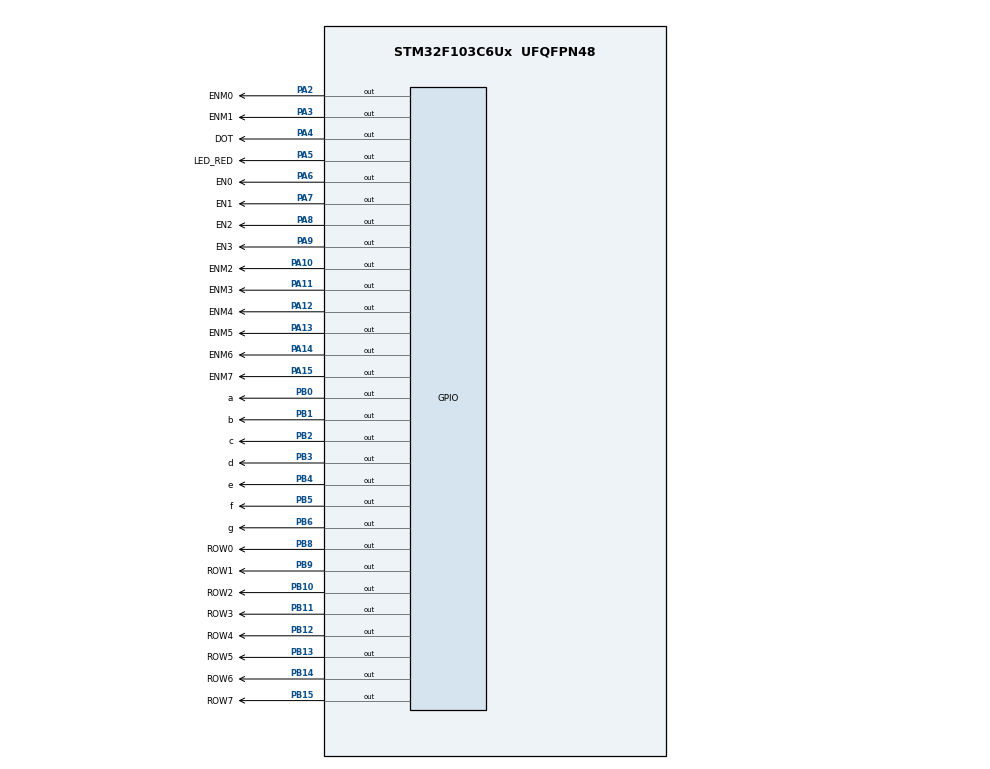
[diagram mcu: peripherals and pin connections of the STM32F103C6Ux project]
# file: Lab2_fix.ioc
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Mcu.Family=STM32F1
Mcu.Name=STM32F103C6Ux
Mcu.Package=UFQFPN48
NVIC.PriorityGroup=NVIC_PRIORITYGROUP_4
NVIC.TIM2_IRQn=true\:0\:0\:false\:false\:true\:true\:true
PA10.GPIO_Label=ENM2
PA10.Signal=GPIO_Output
PA11.GPIO_Label=ENM3
PA11.Signal=GPIO_Output
PA12.GPIO_Label=ENM4
PA12.Signal=GPIO_Output
PA13.GPIO_Label=ENM5
PA13.Signal=GPIO_Output
PA14.GPIO_Label=ENM6
PA14.Signal=GPIO_Output
PA15.GPIO_Label=ENM7
PA15.Signal=GPIO_Output
PA2.GPIO_Label=ENM0
PA2.Signal=GPIO_Output
PA3.GPIO_Label=ENM1
PA3.Signal=GPIO_Output
PA4.GPIO_Label=DOT
PA4.Signal=GPIO_Output
PA5.GPIO_Label=LED_RED
PA5.Signal=GPIO_Output
PA6.GPIO_Label=EN0
PA6.Signal=GPIO_Output
PA7.GPIO_Label=EN1
PA7.Signal=GPIO_Output
PA8.GPIO_Label=EN2
PA8.Signal=GPIO_Output
PA9.GPIO_Label=EN3
PA9.Signal=GPIO_Output
PB0.GPIO_Label=a
PB0.Signal=GPIO_Output
PB1.GPIO_Label=b
PB1.Signal=GPIO_Output
PB10.GPIO_Label=ROW2
PB10.Signal=GPIO_Output
PB11.GPIO_Label=ROW3
PB11.Signal=GPIO_Output
PB12.GPIO_Label=ROW4
PB12.Signal=GPIO_Output
PB13.GPIO_Label=ROW5
PB13.Signal=GPIO_Output
PB14.GPIO_Label=ROW6
PB14.Signal=GPIO_Output
PB15.GPIO_Label=ROW7
PB15.Signal=GPIO_Output
PB2.GPIO_Label=c
PB2.Signal=GPIO_Output
PB3.GPIO_Label=d
PB3.Signal=GPIO_Output
PB4.GPIO_Label=e
PB4.Signal=GPIO_Output
PB5.GPIO_Label=f
PB5.Signal=GPIO_Output
PB6.GPIO_Label=g
PB6.Signal=GPIO_Output
PB8.GPIO_Label=ROW0
PB8.Signal=GPIO_Output
PB9.GPIO_Label=ROW1
PB9.Signal=GPIO_Output
ProjectManager.HeapSize=0x200
ProjectManager.StackSize=0x400
ProjectManager.TargetToolchain=STM32CubeIDE
RCC.APB1Freq_Value=8000000
RCC.APB2Freq_Value=8000000
TIM2.Period=9
TIM2.Prescaler=7999
VP_SYS_VS_ND.Mode=No_Debug
VP_TIM2_VS_ClockSourceINT.Mode=Internal
board=custom

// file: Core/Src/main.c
/* USER CODE BEGIN Header */
/**
  ******************************************************************************
  * @file           : main.c
  * @brief          : Main program body
  ******************************************************************************
  * @attention
  *
  * <h2><center>&copy; Copyright (c) 2024 STMicroelectronics.
  * All rights reserved.</center></h2>
  *
  * This software component is licensed by ST under BSD 3-Clause license,
  * the "License"; You may not use this file except in compliance with the
  * License. You may obtain a copy of the License at:
  *                        opensource.org/licenses/BSD-3-Clause
  *
  ******************************************************************************
  */
/* USER CODE END Header */
#include "main.h"

TIM_HandleTypeDef htim2;

void SystemClock_Config(void);
static void MX_GPIO_Init(void);
static void MX_TIM2_Init(void);

/* USER CODE BEGIN 0 */
int TIMER_CYCLE = 10;
//7 segment display timer setup begins:
int timer0_counter = 0;
int timer0_flag = 0;
void setTimer0(int duration){
	timer0_counter = duration /TIMER_CYCLE;
	timer0_flag = 0;
}
void timer0_run(){
	if(timer0_counter > 0){
		timer0_counter--;
		if(timer0_counter == 0) timer0_flag = 1;
	}
}
//7 segment display timer setup ends

//Hour:minute display timer setup begins:
int timer1_counter = 0;
int timer1_flag = 0;
void setTimer1(int duration){
	timer1_counter = duration /TIMER_CYCLE;
	timer1_flag = 0;
}
void timer1_run(){
	if(timer1_counter > 0){
		timer1_counter--;
		if(timer1_counter == 0) timer1_flag = 1;
	}
}
//Hour:minute display timer setup end

int led_buffer [4];
void updateClockBuffer(int hour, int minute)
{
	if (hour<=9)
	{
		led_buffer [0]=0;
		led_buffer [1]=hour;
	}
	else
	{
		led_buffer [0]=hour/10;
		led_buffer [1]=hour%10;
	}

	if (minute<=9)
	{
		led_buffer [2]=0;
		led_buffer [3]=minute;
	}
	else
	{
		led_buffer [2]=minute/10;
		led_buffer [3]=minute%10;
	}
}

void display7SEG(int num)
	{
		switch (num)
	      {
			case 1:
		          HAL_GPIO_WritePin(a_GPIO_Port, a_Pin, GPIO_PIN_SET);
		          HAL_GPIO_WritePin(b_GPIO_Port, b_Pin, GPIO_PIN_RESET);
		          HAL_GPIO_WritePin(c_GPIO_Port, c_Pin, GPIO_PIN_RESET);
		          HAL_GPIO_WritePin(d_GPIO_Port, d_Pin, GPIO_PIN_SET);
		          HAL_GPIO_WritePin(e_GPIO_Port, e_Pin, GPIO_PIN_SET);
		          HAL_GPIO_WritePin(f_GPIO_Port, f_Pin, GPIO_PIN_SET);
		          HAL_GPIO_WritePin(g_GPIO_Port, g_Pin, GPIO_PIN_SET);
				break;
			case 2:
		          HAL_GPIO_WritePin(a_GPIO_Port, a_Pin, GPIO_PIN_RESET);
		          HAL_GPIO_WritePin(b_GPIO_Port, b_Pin, GPIO_PIN_RESET);
		          HAL_GPIO_WritePin(c_GPIO_Port, c_Pin, GPIO_PIN_SET);
		          HAL_GPIO_WritePin(d_GPIO_Port, d_Pin, GPIO_PIN_RESET);
		          HAL_GPIO_WritePin(e_GPIO_Port, e_Pin, GPIO_PIN_RESET);
		          HAL_GPIO_WritePin(f_GPIO_Port, f_Pin, GPIO_PIN_SET);
		          HAL_GPIO_WritePin(g_GPIO_Port, g_Pin, GPIO_PIN_RESET);
				break;
			case 3:
		          HAL_GPIO_WritePin(a_GPIO_Port, a_Pin, GPIO_PIN_RESET);
		          HAL_GPIO_WritePin(b_GPIO_Port, b_Pin, GPIO_PIN_RESET);
		          HAL_GPIO_WritePin(c_GPIO_Port, c_Pin, GPIO_PIN_RESET);
		          HAL_GPIO_WritePin(d_GPIO_Port, d_Pin, GPIO_PIN_RESET);
		          HAL_GPIO_WritePin(e_GPIO_Port, e_Pin, GPIO_PIN_SET);
		          HAL_GPIO_WritePin(f_GPIO_Port, f_Pin, GPIO_PIN_SET);
		          HAL_GPIO_WritePin(g_GPIO_Port, g_Pin, GPIO_PIN_RESET);
				break;
			case 4:
		          HAL_GPIO_WritePin(a_GPIO_Port, a_Pin, GPIO_PIN_SET);
		          HAL_GPIO_WritePin(b_GPIO_Port, b_Pin, GPIO_PIN_RESET);
		          HAL_GPIO_WritePin(c_GPIO_Port, c_Pin, GPIO_PIN_RESET);
		          HAL_GPIO_WritePin(d_GPIO_Port, d_Pin, GPIO_PIN_SET);
		          HAL_GPIO_WritePin(e_GPIO_Port, e_Pin, GPIO_PIN_SET);
		          HAL_GPIO_WritePin(f_GPIO_Port, f_Pin, GPIO_PIN_RESET);
		          HAL_GPIO_WritePin(g_GPIO_Port, g_Pin, GPIO_PIN_RESET);
				break;
			case 5:
		          HAL_GPIO_WritePin(a_GPIO_Port, a_Pin, GPIO_PIN_RESET);
		          HAL_GPIO_WritePin(b_GPIO_Port, b_Pin, GPIO_PIN_SET);
		          HAL_GPIO_WritePin(c_GPIO_Port, c_Pin, GPIO_PIN_RESET);
		          HAL_GPIO_WritePin(d_GPIO_Port, d_Pin, GPIO_PIN_RESET);
		          HAL_GPIO_WritePin(e_GPIO_Port, e_Pin, GPIO_PIN_SET);
		          HAL_GPIO_WritePin(f_GPIO_Port, f_Pin, GPIO_PIN_RESET);
		          HAL_GPIO_WritePin(g_GPIO_Port, g_Pin, GPIO_PIN_RESET);
				break;
			case 6:
		          HAL_GPIO_WritePin(a_GPIO_Port, a_Pin, GPIO_PIN_RESET);
		          HAL_GPIO_WritePin(b_GPIO_Port, b_Pin, GPIO_PIN_SET);
		          HAL_GPIO_WritePin(c_GPIO_Port, c_Pin, GPIO_PIN_RESET);
		          HAL_GPIO_WritePin(d_GPIO_Port, d_Pin, GPIO_PIN_RESET);
		          HAL_GPIO_WritePin(e_GPIO_Port, e_Pin, GPIO_PIN_RESET);
		          HAL_GPIO_WritePin(f_GPIO_Port, f_Pin, GPIO_PIN_RESET);
		          HAL_GPIO_WritePin(g_GPIO_Port, g_Pin, GPIO_PIN_RESET);
				break;
			case 7:
		          HAL_GPIO_WritePin(a_GPIO_Port, a_Pin, GPIO_PIN_RESET);
		          HAL_GPIO_WritePin(b_GPIO_Port, b_Pin, GPIO_PIN_RESET);
		          HAL_GPIO_WritePin(c_GPIO_Port, c_Pin, GPIO_PIN_RESET);
		          HAL_GPIO_WritePin(d_GPIO_Port, d_Pin, GPIO_PIN_SET);
		          HAL_GPIO_WritePin(e_GPIO_Port, e_Pin, GPIO_PIN_SET);
		          HAL_GPIO_WritePin(f_GPIO_Port, f_Pin, GPIO_PIN_SET);
		          HAL_GPIO_WritePin(g_GPIO_Port, g_Pin, GPIO_PIN_SET);
				break;
			case 8:
		          HAL_GPIO_WritePin(a_GPIO_Port, a_Pin, GPIO_PIN_RESET);
		          HAL_GPIO_WritePin(b_GPIO_Port, b_Pin, GPIO_PIN_RESET);
		          HAL_GPIO_WritePin(c_GPIO_Port, c_Pin, GPIO_PIN_RESET);
		          HAL_GPIO_WritePin(d_GPIO_Port, d_Pin, GPIO_PIN_RESET);
		          HAL_GPIO_WritePin(e_GPIO_Port, e_Pin, GPIO_PIN_RESET);
		          HAL_GPIO_WritePin(f_GPIO_Port, f_Pin, GPIO_PIN_RESET);
		          HAL_GPIO_WritePin(g_GPIO_Port, g_Pin, GPIO_PIN_RESET);
				break;
			case 9:
		          HAL_GPIO_WritePin(a_GPIO_Port, a_Pin, GPIO_PIN_RESET);
		          HAL_GPIO_WritePin(b_GPIO_Port, b_Pin, GPIO_PIN_RESET);
		          HAL_GPIO_WritePin(c_GPIO_Port, c_Pin, GPIO_PIN_RESET);
		          HAL_GPIO_WritePin(d_GPIO_Port, d_Pin, GPIO_PIN_RESET);
		          HAL_GPIO_WritePin(e_GPIO_Port, e_Pin, GPIO_PIN_SET);
		          HAL_GPIO_WritePin(f_GPIO_Port, f_Pin, GPIO_PIN_RESET);
		          HAL_GPIO_WritePin(g_GPIO_Port, g_Pin, GPIO_PIN_RESET);
				break;
			case 0:
		          HAL_GPIO_WritePin(a_GPIO_Port, a_Pin, GPIO_PIN_RESET);
		          HAL_GPIO_WritePin(b_GPIO_Port, b_Pin, GPIO_PIN_RESET);
		          HAL_GPIO_WritePin(c_GPIO_Port, c_Pin, GPIO_PIN_RESET);
		          HAL_GPIO_WritePin(d_GPIO_Port, d_Pin, GPIO_PIN_RESET);
		          HAL_GPIO_WritePin(e_GPIO_Port, e_Pin, GPIO_PIN_RESET);
		          HAL_GPIO_WritePin(f_GPIO_Port, f_Pin, GPIO_PIN_RESET);
		          HAL_GPIO_WritePin(g_GPIO_Port, g_Pin, GPIO_PIN_SET);
				break;
			default:
				break;
		}
}

const int MAX_LED = 4;
int index_led = 0;
void update7SEG ( int index )
{
	switch ( index )
	{
		case 0:
			HAL_GPIO_WritePin ( EN0_GPIO_Port , EN0_Pin ,GPIO_PIN_RESET );
			HAL_GPIO_WritePin ( EN1_GPIO_Port , EN1_Pin ,GPIO_PIN_SET );
			HAL_GPIO_WritePin ( EN2_GPIO_Port , EN2_Pin ,GPIO_PIN_SET );
			HAL_GPIO_WritePin ( EN3_GPIO_Port , EN3_Pin ,GPIO_PIN_SET );
			display7SEG(led_buffer [0]);
			break;
		case 1:
			HAL_GPIO_WritePin ( EN0_GPIO_Port , EN0_Pin ,GPIO_PIN_SET );
			HAL_GPIO_WritePin ( EN1_GPIO_Port , EN1_Pin ,GPIO_PIN_RESET );
			HAL_GPIO_WritePin ( EN2_GPIO_Port , EN2_Pin ,GPIO_PIN_SET );
			HAL_GPIO_WritePin ( EN3_GPIO_Port , EN3_Pin ,GPIO_PIN_SET );
			display7SEG(led_buffer [1]);
			break;
		case 2:
			HAL_GPIO_WritePin ( EN0_GPIO_Port , EN0_Pin ,GPIO_PIN_SET );
			HAL_GPIO_WritePin ( EN1_GPIO_Port , EN1_Pin ,GPIO_PIN_SET );
			HAL_GPIO_WritePin ( EN2_GPIO_Port , EN2_Pin ,GPIO_PIN_RESET );
			HAL_GPIO_WritePin ( EN3_GPIO_Port , EN3_Pin ,GPIO_PIN_SET );
			display7SEG(led_buffer [2]);
			break;
		case 3:
			HAL_GPIO_WritePin ( EN0_GPIO_Port , EN0_Pin ,GPIO_PIN_SET );
			HAL_GPIO_WritePin ( EN1_GPIO_Port , EN1_Pin ,GPIO_PIN_SET );
			HAL_GPIO_WritePin ( EN2_GPIO_Port , EN2_Pin ,GPIO_PIN_SET );
			HAL_GPIO_WritePin ( EN3_GPIO_Port , EN3_Pin ,GPIO_PIN_RESET );
			display7SEG(led_buffer [3]);
			break;
	}
}
//LED MATRIX display timer setup begins
int timer2_counter = 0;
int timer2_flag = 0;
void setTimer2(int duration){
	timer2_counter = duration /TIMER_CYCLE;
	timer2_flag = 0;
}
void timer2_run(){
	if(timer2_counter > 0){
		timer2_counter--;
		if(timer2_counter == 0) timer2_flag = 1;
	}
}
//LED MATRIX display timer setup end
const int MAX_LED_MATRIX = 8;
int index_led_matrix = 0;
uint8_t matrix_buffer[8] = {
	    0x00, // 00000000 (Column 0)
	    0xFC, // 11111100 (Column 1)
	    0xFE, // 11111110 (Column 2)
	    0x33, // 00110011 (Column 3)
	    0x33, // 00110011 (Column 4)
	    0xFE, // 11111110 (Column 5)
	    0xFC, // 11111100 (Column 6)
	    0x00  // 00000000 (Column 7)
};

void updateLEDMatrix(int index)
{
    // Disable all columns first (turn off all columns)
    HAL_GPIO_WritePin(ENM0_GPIO_Port, ENM0_Pin, GPIO_PIN_SET);
    HAL_GPIO_WritePin(ENM1_GPIO_Port, ENM1_Pin, GPIO_PIN_SET);
    HAL_GPIO_WritePin(ENM2_GPIO_Port, ENM2_Pin, GPIO_PIN_SET);
    HAL_GPIO_WritePin(ENM3_GPIO_Port, ENM3_Pin, GPIO_PIN_SET);
    HAL_GPIO_WritePin(ENM4_GPIO_Port, ENM4_Pin, GPIO_PIN_SET);
    HAL_GPIO_WritePin(ENM5_GPIO_Port, ENM5_Pin, GPIO_PIN_SET);
    HAL_GPIO_WritePin(ENM6_GPIO_Port, ENM6_Pin, GPIO_PIN_SET);
    HAL_GPIO_WritePin(ENM7_GPIO_Port, ENM7_Pin, GPIO_PIN_SET);

    // Set column data (PB8-PB15 for COL0-COL7)

        HAL_GPIO_WritePin(GPIOB, 0xff << 8, GPIO_PIN_SET);
        HAL_GPIO_WritePin(GPIOB, matrix_buffer[index] << 8, GPIO_PIN_RESET);

    // Enable the column corresponding to "index"
    switch (index) {
        case 0:
            HAL_GPIO_WritePin(ENM0_GPIO_Port, ENM0_Pin, GPIO_PIN_RESET);  // Enable Column 0
            break;
        case 1:
            HAL_GPIO_WritePin(ENM1_GPIO_Port, ENM1_Pin, GPIO_PIN_RESET);  // Enable Column 1
            break;
        case 2:
            HAL_GPIO_WritePin(ENM2_GPIO_Port, ENM2_Pin, GPIO_PIN_RESET);  // Enable Column 2
            break;
        case 3:
            HAL_GPIO_WritePin(ENM3_GPIO_Port, ENM3_Pin, GPIO_PIN_RESET);  // Enable Column 3
            break;
        case 4:
            HAL_GPIO_WritePin(ENM4_GPIO_Port, ENM4_Pin, GPIO_PIN_RESET);  // Enable Column 4
            break;
        case 5:
            HAL_GPIO_WritePin(ENM5_GPIO_Port, ENM5_Pin, GPIO_PIN_RESET);  // Enable Column 5
            break;
        case 6:
            HAL_GPIO_WritePin(ENM6_GPIO_Port, ENM6_Pin, GPIO_PIN_RESET);  // Enable Column 6
            break;
        case 7:
            HAL_GPIO_WritePin(ENM7_GPIO_Port, ENM7_Pin, GPIO_PIN_RESET);  // Enable Column 7
            break;
    }
}
void shiftLeftMatrixBuffer() {
    // Temporary variable to store the left row for wraparound
    uint8_t temp = matrix_buffer[0];

    // Shift all elements to the left
    for (int i = 0; i < MAX_LED_MATRIX - 1; i++) {
        matrix_buffer[i] = matrix_buffer[i + 1]; // Move current move to the left
    }
    matrix_buffer[MAX_LED_MATRIX - 1] = temp;
}
/* USER CODE END 0 */

int main(void)
{

  /* MCU Configuration--------------------------------------------------------*/

  /* Reset of all peripherals, Initializes the Flash interface and the Systick. */
  HAL_Init();

  /* Configure the system clock */
  SystemClock_Config();

  /* Initialize all configured peripherals */
  MX_GPIO_Init();
  MX_TIM2_Init();
  /* USER CODE BEGIN 2 */
  HAL_TIM_Base_Start_IT (& htim2 );
  /* USER CODE END 2 */

  /* Infinite loop */
  /* USER CODE BEGIN WHILE */
  int hour = 15, minute = 8, second = 50;
  setTimer0(250);
  setTimer1(1000);
  setTimer2(10);
  int index_led_matrix = 0;
  while (1)
  {
    /* USER CODE END WHILE */

    /* USER CODE BEGIN 3 */
	  if( timer0_flag == 1)
	  {
		    update7SEG(index_led++);
		    if (index_led>=MAX_LED)
		    {
			    index_led=0;
		    }
		    setTimer0(250);
	  }

	  if( timer1_flag == 1)
	  {
		    second++;
		    if (second >= 60){
		        second = 0;
		        minute++;
		    }
		    if(minute >= 60){
		        minute = 0;
		        hour++;
		    }
		    if(hour >=24){
		        hour = 0;
		    }
		    updateClockBuffer(hour, minute);
		    setTimer1(1000);
		    HAL_GPIO_TogglePin( DOT_GPIO_Port , DOT_Pin );
	  }

	  if( timer2_flag == 1)
	  {
		  updateLEDMatrix(index_led_matrix++);
		  if (index_led_matrix>=MAX_LED_MATRIX)
		  {
			  shiftLeftMatrixBuffer();  // Shift the character left on the LED matrix
			  index_led_matrix=0;
		  }
		  setTimer2(10); //1/0.01s (Hz)
	  }
  }
  /* USER CODE END 3 */
}
/* USER CODE BEGIN 4 */
void HAL_TIM_PeriodElapsedCallback ( TIM_HandleTypeDef * htim )
{
	timer0_run ();
	timer1_run ();
	timer2_run ();
}
/* USER CODE END 4 */
void SystemClock_Config(void)
{
  RCC_OscInitTypeDef RCC_OscInitStruct = {0};
  RCC_ClkInitTypeDef RCC_ClkInitStruct = {0};

  /** Initializes the RCC Oscillators according to the specified parameters
  * in the RCC_OscInitTypeDef structure.
  */
  RCC_OscInitStruct.OscillatorType = RCC_OSCILLATORTYPE_HSI;
  RCC_OscInitStruct.HSIState = RCC_HSI_ON;
  RCC_OscInitStruct.HSICalibrationValue = RCC_HSICALIBRATION_DEFAULT;
  RCC_OscInitStruct.PLL.PLLState = RCC_PLL_NONE;
  if (HAL_RCC_OscConfig(&RCC_OscInitStruct) != HAL_OK)
  {
    Error_Handler();
  }
  /** Initializes the CPU, AHB and APB buses clocks
  */
  RCC_ClkInitStruct.ClockType = RCC_CLOCKTYPE_HCLK|RCC_CLOCKTYPE_SYSCLK
                              |RCC_CLOCKTYPE_PCLK1|RCC_CLOCKTYPE_PCLK2;
  RCC_ClkInitStruct.SYSCLKSource = RCC_SYSCLKSOURCE_HSI;
  RCC_ClkInitStruct.AHBCLKDivider = RCC_SYSCLK_DIV1;
  RCC_ClkInitStruct.APB1CLKDivider = RCC_HCLK_DIV1;
  RCC_ClkInitStruct.APB2CLKDivider = RCC_HCLK_DIV1;

  if (HAL_RCC_ClockConfig(&RCC_ClkInitStruct, FLASH_LATENCY_0) != HAL_OK)
  {
    Error_Handler();
  }
}

static void MX_TIM2_Init(void)
{

  TIM_ClockConfigTypeDef sClockSourceConfig = {0};
  TIM_MasterConfigTypeDef sMasterConfig = {0};

  htim2.Instance = TIM2;
  htim2.Init.Prescaler = 7999;
  htim2.Init.CounterMode = TIM_COUNTERMODE_UP;
  htim2.Init.Period = 9;
  htim2.Init.ClockDivision = TIM_CLOCKDIVISION_DIV1;
  htim2.Init.AutoReloadPreload = TIM_AUTORELOAD_PRELOAD_DISABLE;
  if (HAL_TIM_Base_Init(&htim2) != HAL_OK)
  {
    Error_Handler();
  }
  sClockSourceConfig.ClockSource = TIM_CLOCKSOURCE_INTERNAL;
  if (HAL_TIM_ConfigClockSource(&htim2, &sClockSourceConfig) != HAL_OK)
  {
    Error_Handler();
  }
  sMasterConfig.MasterOutputTrigger = TIM_TRGO_RESET;
  sMasterConfig.MasterSlaveMode = TIM_MASTERSLAVEMODE_DISABLE;
  if (HAL_TIMEx_MasterConfigSynchronization(&htim2, &sMasterConfig) != HAL_OK)
  {
    Error_Handler();
  }

}

static void MX_GPIO_Init(void)
{
  GPIO_InitTypeDef GPIO_InitStruct = {0};

  /* GPIO Ports Clock Enable */
  __HAL_RCC_GPIOA_CLK_ENABLE();
  __HAL_RCC_GPIOB_CLK_ENABLE();

  /*Configure GPIO pin Output Level */
  HAL_GPIO_WritePin(GPIOA, ENM0_Pin|ENM1_Pin|DOT_Pin|LED_RED_Pin
                          |EN0_Pin|EN1_Pin|EN2_Pin|EN3_Pin
                          |ENM2_Pin|ENM3_Pin|ENM4_Pin|ENM5_Pin
                          |ENM6_Pin|ENM7_Pin, GPIO_PIN_RESET);

  /*Configure GPIO pin Output Level */
  HAL_GPIO_WritePin(GPIOB, a_Pin|b_Pin|c_Pin|ROW2_Pin
                          |ROW3_Pin|ROW4_Pin|ROW5_Pin|ROW6_Pin
                          |ROW7_Pin|d_Pin|e_Pin|f_Pin
                          |g_Pin|ROW0_Pin|ROW1_Pin, GPIO_PIN_RESET);

  /*Configure GPIO pins : ENM0_Pin ENM1_Pin DOT_Pin LED_RED_Pin
                           EN0_Pin EN1_Pin EN2_Pin EN3_Pin
                           ENM2_Pin ENM3_Pin ENM4_Pin ENM5_Pin
                           ENM6_Pin ENM7_Pin */
  GPIO_InitStruct.Pin = ENM0_Pin|ENM1_Pin|DOT_Pin|LED_RED_Pin
                          |EN0_Pin|EN1_Pin|EN2_Pin|EN3_Pin
                          |ENM2_Pin|ENM3_Pin|ENM4_Pin|ENM5_Pin
                          |ENM6_Pin|ENM7_Pin;
  GPIO_InitStruct.Mode = GPIO_MODE_OUTPUT_PP;
  GPIO_InitStruct.Pull = GPIO_NOPULL;
  GPIO_InitStruct.Speed = GPIO_SPEED_FREQ_LOW;
  HAL_GPIO_Init(GPIOA, &GPIO_InitStruct);

  /*Configure GPIO pins : a_Pin b_Pin c_Pin R0W2_Pin
                           R0W3_Pin R0W4_Pin R0W5_Pin R0W6_Pin
                           R0W7_Pin d_Pin e_Pin f_Pin
                           g_Pin ROW0_Pin ROW1_Pin */
  GPIO_InitStruct.Pin = a_Pin|b_Pin|c_Pin|ROW2_Pin
                          |ROW3_Pin|ROW4_Pin|ROW5_Pin|ROW6_Pin
                          |ROW7_Pin|d_Pin|e_Pin|f_Pin
                          |g_Pin|ROW0_Pin|ROW1_Pin;
  GPIO_InitStruct.Mode = GPIO_MODE_OUTPUT_PP;
  GPIO_InitStruct.Pull = GPIO_NOPULL;
  GPIO_InitStruct.Speed = GPIO_SPEED_FREQ_LOW;
  HAL_GPIO_Init(GPIOB, &GPIO_InitStruct);

}

void Error_Handler(void)
{
  __disable_irq();
  while (1)
  {
  }
}

/************************ (C) COPYRIGHT STMicroelectronics *****END OF FILE****/
